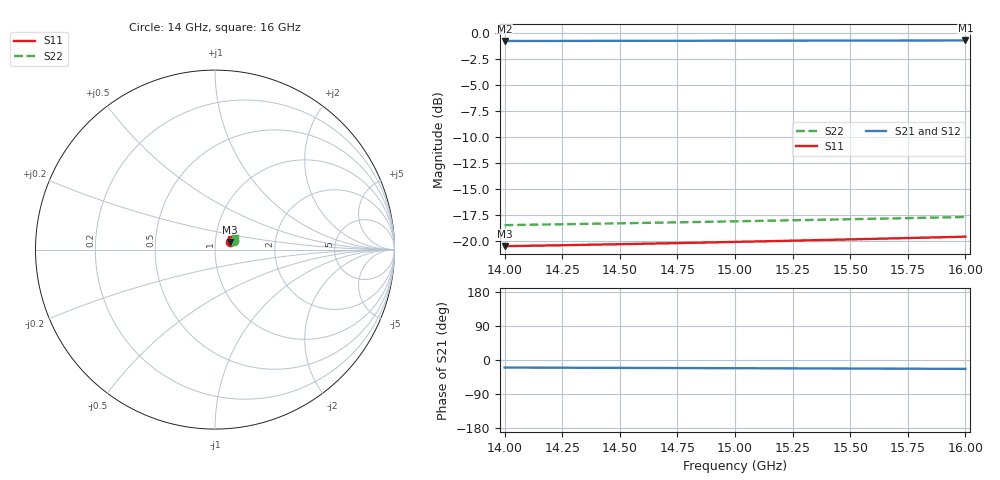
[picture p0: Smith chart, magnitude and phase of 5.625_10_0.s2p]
! Created Fri Dec 11 14:16:41 2020
# hz S ma R 50
! 2 Port Network Data from Sweep1.SP1.SP block
! freq  magS11  angS11  magS21  angS21  magS12  angS12  magS22  angS22
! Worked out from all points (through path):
!   21 points, 14 GHz to 16 GHz, reference 50 ohm
!   highest |S21| = -0.76 dB at 16 GHz (marker M1); lowest = -0.8 dB at 14 GHz (marker M2)
!   group delay of S21, straight-line fit = 4.79 ps
!   lowest |S11| = -20.5 dB at 14 GHz (marker M3), VSWR 1.21, Z = 59.1 + j4.85 ohm
!   |S11| at or under -10 dB: start of sweep to end of sweep
!   |S22| runs from -18.5 to -17.7 dB; largest |S21 - S12| = 0
1.4e10  0.09414 25.6  0.9105 -19.9  0.9105 -19.9  0.1188 24.4
1.41e10  0.09453 26.1  0.9108 -20.1  0.9108 -20.1  0.1193 24.6
1.42e10  0.09493 26.5  0.9111 -20.3  0.9111 -20.3  0.1197 24.9
1.43e10  0.09535 27.0  0.9114 -20.4  0.9114 -20.4  0.1202 25.2
1.44e10  0.09578 27.4  0.9117 -20.6  0.9117 -20.6  0.1207 25.5
1.45e10  0.09623 27.8  0.912 -20.8  0.912 -20.8  0.1212 25.7
1.46e10  0.09669 28.3  0.9123 -21.0  0.9123 -21.0  0.1217 26.0
1.47e10  0.09717 28.7  0.9126 -21.1  0.9126 -21.1  0.1223 26.3
1.48e10  0.09766 29.1  0.9129 -21.3  0.9129 -21.3  0.1228 26.5
1.49e10  0.09816 29.5  0.9132 -21.5  0.9132 -21.5  0.1234 26.8
1.5e10  0.09868 29.9  0.9135 -21.6  0.9135 -21.6  0.1239 27.0
1.51e10  0.09921 30.3  0.9137 -21.8  0.9137 -21.8  0.1245 27.3
1.52e10  0.09976 30.7  0.914 -22.0  0.914 -22.0  0.1251 27.5
1.53e10  0.1003 31.1  0.9142 -22.2  0.9142 -22.2  0.1257 27.8
1.54e10  0.1009 31.5  0.9145 -22.3  0.9145 -22.3  0.1263 28.0
1.55e10  0.1015 31.8  0.9148 -22.5  0.9148 -22.5  0.1269 28.2
1.56e10  0.1021 32.2  0.915 -22.7  0.915 -22.7  0.1275 28.5
1.57e10  0.1027 32.6  0.9153 -22.9  0.9153 -22.9  0.1281 28.7
1.58e10  0.1033 32.9  0.9155 -23.0  0.9155 -23.0  0.1287 28.9
1.59e10  0.1039 33.2  0.9157 -23.2  0.9157 -23.2  0.1294 29.1
1.6e10  0.1046 33.6  0.916 -23.4  0.916 -23.4  0.13 29.3
